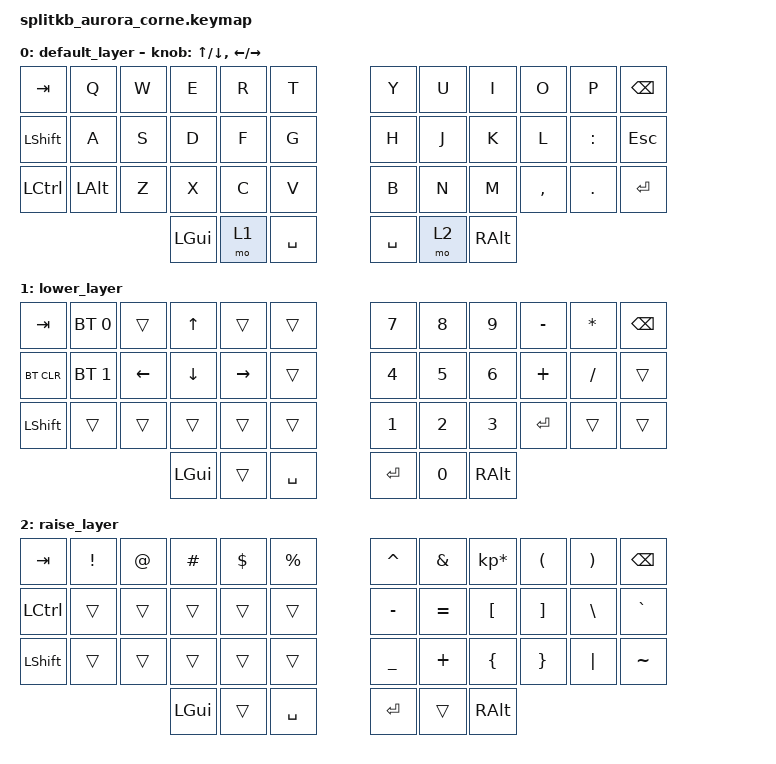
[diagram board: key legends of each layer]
/*
 * Copyright (c) 2020 The ZMK Contributors
 *
 * SPDX-License-Identifier: MIT
 */

#include <behaviors.dtsi>
#include <dt-bindings/zmk/keys.h>
#include <dt-bindings/zmk/bt.h>

/ {
        keymap {
                compatible = "zmk,keymap";

                default_layer {
// -----------------------------------------------------------------------------------------
// |  TAB   |  Q      |  W      |  E    |  R     |  T      || _ ||  Y       |  U      |  I      |  O      |  P      | BKSP |
// | SHIFT  |  A      |  S      |  D    |  F     |  G      || _ ||  H       |  J      |  K      |  L      |  :      |  ESC |
// | CTRL   |  ALT    |  Z      |  X    |  C     |  V      || _ ||  B       |  N      |  M      |  ,      |  .      | ENT  |
//                              | GUI   | LWR    | SPACE   || _ || SPACE    | RSE     | ALT     |
                        bindings = <
   &kp TAB    &kp Q     &kp W   &kp E     &kp R   &kp T            &kp Y       &kp U   &kp I     &kp O     &kp P     &kp BSPC
   &kp LSHFT  &kp A     &kp S   &kp D     &kp F   &kp G            &kp H       &kp J   &kp K     &kp L     &kp COLON &kp ESC
   &kp LCTRL  &kp LALT  &kp Z   &kp X     &kp C   &kp V            &kp B       &kp N   &kp M     &kp COMMA &kp DOT   &kp RET
                                &kp LGUI  &mo 1   &kp SPACE        &kp SPACE   &mo 2   &kp RALT
                        >;
                sensor-bindings = <&inc_dec_kp UP DOWN &inc_dec_kp LEFT RIGHT>;
                };

                lower_layer {
// -----------------------------------------------------------------------------------------
// |  TAB       | BT0         |         | UP      |          |        || _ || 7       |  8      |  9       |  -        |  *       | BKSP |
// | BTCLR      | BT1         | LFT     | DWN     | RGT      |        || _ || 4       |  5      |  6       |  +        |  /       |      |
// | SHFT       |             |         |         |          |        || _ || 1       |  2      |  3       | ENT       |          |      |
//                            |         | GUI     |          | SPC    || _ || ENT     |  0      | ALT      |
  bindings = <
    &kp TAB      &bt BT_SEL 0   &trans    &kp UP    &trans     &trans         &kp N7   &kp N8     &kp N9    &kp MINUS   &kp STAR    &kp BSPC
    &bt BT_CLR   &bt BT_SEL 1   &kp LEFT  &kp DOWN  &kp RIGHT  &trans         &kp N4   &kp N5     &kp N6    &kp PLUS    &kp SLASH   &trans
    &kp LSHFT    &trans         &trans    &trans    &trans     &trans         &kp N1   &kp N2     &kp N3    &kp RET     &trans      &trans
                                          &kp LGUI  &trans     &kp SPACE      &kp RET  &kp N0     &kp RALT
                        >;
                };

                raise_layer {
// -----------------------------------------------------------------------------------------
// |  TAB |  !  |  @  |  #  |  $  |  %  |   |  ^  |  &  |  *  |  (  |  )  | BKSP |
// | CTRL |     |     |     |     |     |   |  -  |  =  |  [  |  ]  |  \  |  `   |
// | SHFT |     |     |     |     |     |   |  _  |  +  |  {  |  }  | "|" |  ~   |
//                    | GUI |     | SPC |   | ENT |     | ALT |
                        bindings = <
   &kp  TAB  &kp EXCL &kp AT &kp HASH &kp DLLR &kp PRCNT   &kp CARET &kp AMPS  &kp KP_MULTIPLY &kp LPAR &kp RPAR &kp BSPC
   &kp LCTRL &trans   &trans &trans   &trans   &trans      &kp MINUS &kp EQUAL &kp LBKT        &kp RBKT &kp BSLH &kp GRAVE
   &kp LSHFT &trans   &trans &trans   &trans   &trans      &kp UNDER &kp PLUS  &kp LBRC        &kp RBRC &kp PIPE &kp TILDE
                             &kp LGUI &trans   &kp SPACE   &kp RET   &trans    &kp RALT
                        >;
                };
        };
};
